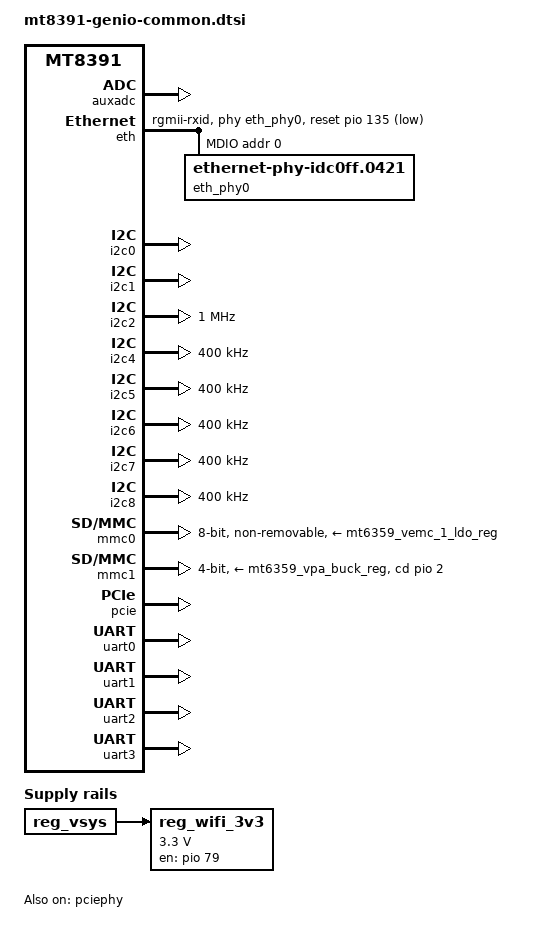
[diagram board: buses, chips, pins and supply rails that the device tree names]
// SPDX-License-Identifier: (GPL-2.0 OR MIT)
/*
 * Copyright (c) 2025 Collabora Ltd.
 * Author: Louis-Alexis Eyraud <louisalexis.eyraud@collabora.com>
 */

#include "mt6365.dtsi"

#include <dt-bindings/gpio/gpio.h>
#include <dt-bindings/input/input.h>
#include <dt-bindings/interrupt-controller/irq.h>
#include <dt-bindings/leds/common.h>
#include <dt-bindings/spmi/spmi.h>
#include "mt8189-pinfunc.h"

/ {
	aliases {
		ethernet0 = &eth;
		i2c0 = &i2c0;
		i2c1 = &i2c1;
		i2c2 = &i2c2;
		i2c3 = &i2c3;
		i2c4 = &i2c4;
		i2c5 = &i2c5;
		i2c6 = &i2c6;
		i2c7 = &i2c7;
		i2c8 = &i2c8;
		mmc0 = &mmc0;
		mmc1 = &mmc1;
		serial0 = &uart0;
	};

	chosen: chosen {
		stdout-path = "serial0:921600n8";
	};

	reserved_memory: reserved-memory {
		#address-cells = <2>;
		#size-cells = <2>;
		ranges;

		/* 2 MiB reserved for ARM Trusted Firmware (BL31) */
		bl31_secmon_reserved: memory@54600000 {
			reg = <0 0x54600000 0x0 0x200000>;
			no-map;
		};
	};

	/* system wide 4.2V power rail from charger */
	reg_vsys: regulator-vsys {
		compatible = "regulator-fixed";
		regulator-name = "vsys";
		regulator-always-on;
		regulator-boot-on;
	};

	/* used by PCIe Wi-Fi Module */
	reg_wifi_3v3: regulator-1 {
		compatible = "regulator-fixed";
		regulator-name = "wifi_3v3";
		regulator-min-microvolt = <3300000>;
		regulator-max-microvolt = <3300000>;
		gpio = <&pio 79 GPIO_ACTIVE_HIGH>;
		enable-active-high;
		regulator-always-on;
		pinctrl-names = "default";
		pinctrl-0 = <&pcie_3v3_en_pins>;
		vin-supply = <&reg_vsys>;
	};
};

&auxadc {
	status = "okay";
};

&cpu0 {
	cpu-supply = <&mt6359_vmodem_buck_reg>;
};

&cpu1 {
	cpu-supply = <&mt6359_vmodem_buck_reg>;
};

&cpu2 {
	cpu-supply = <&mt6359_vmodem_buck_reg>;
};

&cpu3 {
	cpu-supply = <&mt6359_vmodem_buck_reg>;
};

&cpu4 {
	cpu-supply = <&mt6359_vmodem_buck_reg>;
};

&cpu5 {
	cpu-supply = <&mt6359_vmodem_buck_reg>;
};

&eth {
	phy-handle = <&eth_phy0>;
	phy-mode ="rgmii-rxid";
	pinctrl-names = "default", "sleep";
	pinctrl-0 = <&eth_default_pins>;
	pinctrl-1 = <&eth_sleep_pins>;
	mediatek,mac-wol;
	snps,reset-delays-us = <0 10000 10000>;
	snps,reset-gpio = <&pio 135 GPIO_ACTIVE_LOW>;
	status = "okay";

	mdio {
		compatible = "snps,dwmac-mdio";
		#address-cells = <1>;
		#size-cells = <0>;

		eth_phy0: ethernet-phy@0 {
			compatible = "ethernet-phy-idc0ff.0421";
			reg = <0x0>;

			leds {
				#address-cells = <1>;
				#size-cells = <0>;

				/* LED_D5 */
				led@0 {
					reg = <0>;
					active-high;
					color = <LED_COLOR_ID_YELLOW>;
					default-state = "keep";
					function = LED_FUNCTION_LAN;
					function-enumerator = <0>;
				};

				/* LED_D6 */
				led@1 {
					reg = <1>;
					active-high;
					color = <LED_COLOR_ID_YELLOW>;
					default-state = "keep";
					function = LED_FUNCTION_LAN;
					function-enumerator = <2>;
				};

				/* LED_D7 */
				led@2 {
					reg = <2>;
					active-low;
					color = <LED_COLOR_ID_GREEN>;
					default-state = "keep";
					function = LED_FUNCTION_LAN;
					function-enumerator = <1>;
				};
			};
		};
	};
};

&i2c0 {
	pinctrl-names = "default";
	pinctrl-0 = <&i2c0_pins>;
	status = "okay";
};

&i2c1 {
	pinctrl-names = "default";
	pinctrl-0 = <&i2c1_pins>;
	status = "okay";
};

&i2c2 {
	clock-frequency = <1000000>;
	pinctrl-names = "default";
	pinctrl-0 = <&i2c2_pins>;
	status = "okay";
};

&i2c3 {
	pinctrl-names = "default";
	pinctrl-0 = <&i2c3_pins>;
	status = "disabled";
};

&i2c4 {
	clock-frequency = <400000>;
	pinctrl-names = "default";
	pinctrl-0 = <&i2c4_pins>;
	status = "okay";
};

&i2c5 {
	clock-frequency = <400000>;
	pinctrl-names = "default";
	pinctrl-0 = <&i2c5_pins>;
	status = "okay";
};

&i2c6 {
	clock-frequency = <400000>;
	pinctrl-names = "default";
	pinctrl-0 = <&i2c6_pins>;
	status = "okay";
};

&i2c7 {
	clock-frequency = <400000>;
	pinctrl-names = "default";
	pinctrl-0 = <&i2c7_pins>;
	status = "okay";
};

&i2c8 {
	clock-frequency = <400000>;
	pinctrl-names = "default";
	pinctrl-0 = <&i2c8_pins>;
	status = "okay";
};

&mmc0 {
	bus-width = <8>;
	cap-mmc-highspeed;
	cap-mmc-hw-reset;
	hs400-ds-delay = <0x1481b>;
	max-frequency = <200000000>;
	mmc-hs200-1_8v;
	mmc-hs400-1_8v;
	mmc-hs400-enhanced-strobe;
	no-sdio;
	no-sd;
	non-removable;
	supports-cqe;
	pinctrl-names = "default", "state_uhs";
	pinctrl-0 = <&mmc0_default_pins>;
	pinctrl-1 = <&mmc0_uhs_pins>;
	vmmc-supply = <&mt6359_vemc_1_ldo_reg>;
	vqmmc-supply = <&mt6359_vufs_ldo_reg>;
	status = "okay";
};

&mmc1 {
	bus-width = <4>;
	cap-sd-highspeed;
	cd-gpios = <&pio 2 GPIO_ACTIVE_HIGH>;
	max-frequency = <200000000>;
	no-mmc;
	no-sdio;
	sd-uhs-sdr50;
	sd-uhs-sdr104;
	pinctrl-names = "default", "state_uhs";
	pinctrl-0 = <&mmc1_default_pins>;
	pinctrl-1 = <&mmc1_uhs_pins>;
	vmmc-supply = <&mt6359_vpa_buck_reg>;
	vqmmc-supply = <&mt6359_vsim1_ldo_reg>;
	status = "okay";
};

&mt6359_va09_ldo_reg{
	regulator-name = "dvdd_sram_vadsp";
	regulator-always-on;
};

&mt6359_vaux18_ldo_reg {
	regulator-always-on;
};

&mt6359_vbbck_ldo_reg {
	regulator-always-on;
};

&mt6359_vcore_buck_reg {
	regulator-name = "dvdd_apu";
	regulator-always-on;
};

&mt6359_vgpu11_buck_reg {
	regulator-name = "dvdd_sram_core";
	regulator-always-on;
};

&mt6359_vmodem_buck_reg {
	regulator-name = "dvdd_proc_l";
	regulator-always-on;
};

&mt6359_vproc1_buck_reg {
	regulator-name = "vgpu";
};

&mt6359_vproc2_buck_reg {
	regulator-name = "dvdd_core";
	regulator-always-on;
};

&mt6359_vpu_buck_reg {
	regulator-name = "avdd075_emi";
	regulator-always-on;
};

&mt6359_vrf12_ldo_reg {
	regulator-name = "va12_abb2";
	regulator-always-on;
};

&mt6359_vrfck_ldo_reg {
	regulator-always-on;
};

&mt6359_vsram_md_ldo_reg {
	regulator-name = "dvdd_sram_proc_l";
	regulator-always-on;
};

&mt6359_vsram_proc1_ldo_reg {
	regulator-name = "vsram_gpu";
};

&mt6359_vsram_proc2_ldo_reg {
	regulator-name = "dvdd_sram_proc_b";
	regulator-always-on;
};

&mt6359_vsram_others_ldo_reg {
	regulator-name = "dvdd_sram_apu";
	regulator-always-on;
};

&mt6359_vufs_ldo_reg {
	regulator-always-on;
};

&pcie {
	pinctrl-names = "default", "sleep";
	pinctrl-0 = <&pcie_default_pins>;
	pinctrl-1 = <&pcie_sleep_pins>;
	status = "okay";
};

&pciephy {
	status = "okay";
};

&pio {
	eth_default_pins: eth-default-pins {
		pins-cc {
			pinmux = <PINMUX_GPIO127__FUNC_GBE_TXC>,
				 <PINMUX_GPIO130__FUNC_GBE_TXEN>,
				 <PINMUX_GPIO129__FUNC_GBE_RXDV>,
				 <PINMUX_GPIO128__FUNC_GBE_RXC>;
			drive-strength = <8>;
		};

		pins-mdio {
			pinmux = <PINMUX_GPIO131__FUNC_GBE_MDC>,
				 <PINMUX_GPIO132__FUNC_GBE_MDIO>;
			drive-strength = <8>;
			input-enable;
		};

		pins-power {
			pinmux = <PINMUX_GPIO133__FUNC_GPIO133>,
				 <PINMUX_GPIO134__FUNC_GPIO134>;
			output-high;
		};

		pins-rxd {
			pinmux = <PINMUX_GPIO123__FUNC_GBE_RXD3>,
				 <PINMUX_GPIO124__FUNC_GBE_RXD2>,
				 <PINMUX_GPIO125__FUNC_GBE_RXD1>,
				 <PINMUX_GPIO126__FUNC_GBE_RXD0>;
			drive-strength = <8>;
		};

		pins-txd {
			pinmux = <PINMUX_GPIO119__FUNC_GBE_TXD3>,
				 <PINMUX_GPIO120__FUNC_GBE_TXD2>,
				 <PINMUX_GPIO121__FUNC_GBE_TXD1>,
				 <PINMUX_GPIO122__FUNC_GBE_TXD0>;
			drive-strength = <8>;
		};
	};

	eth_sleep_pins: eth-sleep-pins {
		pins-cc {
			pinmux = <PINMUX_GPIO127__FUNC_GPIO127>,
				 <PINMUX_GPIO130__FUNC_GPIO130>,
				 <PINMUX_GPIO129__FUNC_GPIO129>,
				 <PINMUX_GPIO128__FUNC_GPIO128>;
		};

		pins-mdio {
			pinmux = <PINMUX_GPIO131__FUNC_GPIO131>,
				 <PINMUX_GPIO132__FUNC_GPIO132>;
			input-disable;
			bias-disable;
		};

		pins-rxd {
			pinmux = <PINMUX_GPIO123__FUNC_GPIO123>,
				 <PINMUX_GPIO124__FUNC_GPIO124>,
				 <PINMUX_GPIO125__FUNC_GPIO125>,
				 <PINMUX_GPIO126__FUNC_GPIO126>;
		};

		pins-txd {
			pinmux = <PINMUX_GPIO119__FUNC_GPIO119>,
				 <PINMUX_GPIO120__FUNC_GPIO120>,
				 <PINMUX_GPIO121__FUNC_GPIO121>,
				 <PINMUX_GPIO122__FUNC_GPIO122>;
		};
	};

	i2c0_pins: i2c0-pins {
		pins {
			pinmux = <PINMUX_GPIO52__FUNC_SDA0>,
				 <PINMUX_GPIO51__FUNC_SCL0>;
			bias-pull-up;
		};
	};

	i2c1_pins: i2c1-pins {
		pins {
			pinmux = <PINMUX_GPIO54__FUNC_SDA1>,
				 <PINMUX_GPIO53__FUNC_SCL1>;
			bias-pull-up;
		};
	};

	i2c2_pins: i2c2-pins {
		pins {
			pinmux = <PINMUX_GPIO56__FUNC_SDA2>,
				 <PINMUX_GPIO55__FUNC_SCL2>;
			bias-pull-up;
		};
	};

	i2c3_pins: i2c3-pins {
		pins {
			pinmux = <PINMUX_GPIO58__FUNC_SDA3>,
				 <PINMUX_GPIO57__FUNC_SCL3>;
			bias-pull-up;
		};
	};

	i2c4_pins: i2c4-pins {
		pins {
			pinmux = <PINMUX_GPIO60__FUNC_SDA4>,
				 <PINMUX_GPIO59__FUNC_SCL4>;
			bias-pull-up;
		};
	};
	i2c5_pins: i2c5-pins {
		pins {
			pinmux = <PINMUX_GPIO62__FUNC_SDA5>,
				 <PINMUX_GPIO61__FUNC_SCL5>;
			bias-pull-up;
		};
	};

	i2c6_pins: i2c6-pins {
		pins {
			pinmux = <PINMUX_GPIO64__FUNC_SDA6>,
				 <PINMUX_GPIO63__FUNC_SCL6>;
			bias-pull-up;
		};
	};

	i2c7_pins: i2c7-pins {
		pins {
			pinmux = <PINMUX_GPIO66__FUNC_SDA7>,
				 <PINMUX_GPIO65__FUNC_SCL7>;
			bias-pull-up;
		};
	};

	i2c8_pins: i2c8-pins {
		pins {
			pinmux = <PINMUX_GPIO68__FUNC_SDA8>,
				 <PINMUX_GPIO67__FUNC_SCL8>;
			bias-pull-up;
		};
	};

	mmc0_default_pins: mmc0-default-pins {
		pins-clk {
			pinmux = <PINMUX_GPIO162__FUNC_MSDC0_CLK>;
			drive-strength = <6>;
			bias-pull-down = <MTK_PUPD_SET_R1R0_10>;
		};

		pins-cmd-dat {
			pinmux = <PINMUX_GPIO166__FUNC_MSDC0_DAT0>,
				 <PINMUX_GPIO165__FUNC_MSDC0_DAT1>,
				 <PINMUX_GPIO164__FUNC_MSDC0_DAT2>,
				 <PINMUX_GPIO163__FUNC_MSDC0_DAT3>,
				 <PINMUX_GPIO159__FUNC_MSDC0_DAT4>,
				 <PINMUX_GPIO158__FUNC_MSDC0_DAT5>,
				 <PINMUX_GPIO157__FUNC_MSDC0_DAT6>,
				 <PINMUX_GPIO156__FUNC_MSDC0_DAT7>,
				 <PINMUX_GPIO161__FUNC_MSDC0_CMD>;
			input-enable;
			drive-strength = <6>;
			bias-pull-up = <MTK_PUPD_SET_R1R0_01>;
		};

		pins-rst {
			pinmux = <PINMUX_GPIO160__FUNC_MSDC0_RSTB>;
			drive-strength = <6>;
			bias-pull-up = <MTK_PUPD_SET_R1R0_00>;
		};
	};

	mmc0_uhs_pins: mmc0-uhs-pins {
		pins-clk {
			pinmux = <PINMUX_GPIO162__FUNC_MSDC0_CLK>;
			drive-strength = <8>;
			bias-pull-down = <MTK_PUPD_SET_R1R0_10>;
		};

		pins-cmd-dat {
			pinmux = <PINMUX_GPIO166__FUNC_MSDC0_DAT0>,
				 <PINMUX_GPIO165__FUNC_MSDC0_DAT1>,
				 <PINMUX_GPIO164__FUNC_MSDC0_DAT2>,
				 <PINMUX_GPIO163__FUNC_MSDC0_DAT3>,
				 <PINMUX_GPIO159__FUNC_MSDC0_DAT4>,
				 <PINMUX_GPIO158__FUNC_MSDC0_DAT5>,
				 <PINMUX_GPIO157__FUNC_MSDC0_DAT6>,
				 <PINMUX_GPIO156__FUNC_MSDC0_DAT7>,
				 <PINMUX_GPIO161__FUNC_MSDC0_CMD>;
			input-enable;
			drive-strength = <8>;
			bias-pull-up = <MTK_PUPD_SET_R1R0_01>;
		};

		pins-ds {
			pinmux = <PINMUX_GPIO167__FUNC_MSDC0_DSL>;
			drive-strength = <8>;
			bias-pull-down = <MTK_PUPD_SET_R1R0_10>;
		};

		pins-rst {
			pinmux = <PINMUX_GPIO160__FUNC_MSDC0_RSTB>;
			bias-pull-up = <MTK_PUPD_SET_R1R0_00>;
		};
	};

	mmc1_default_pins: mmc1-default-pins {
		pins-clk {
			pinmux = <PINMUX_GPIO169__FUNC_MSDC1_CLK>;
			drive-strength = <6>;
			bias-pull-down = <MTK_PUPD_SET_R1R0_10>;
		};

		pins-cmd-dat {
			pinmux = <PINMUX_GPIO170__FUNC_MSDC1_DAT0>,
				 <PINMUX_GPIO171__FUNC_MSDC1_DAT1>,
				 <PINMUX_GPIO172__FUNC_MSDC1_DAT2>,
				 <PINMUX_GPIO173__FUNC_MSDC1_DAT3>,
				 <PINMUX_GPIO168__FUNC_MSDC1_CMD>;
			input-enable;
			drive-strength = <6>;
			bias-pull-up = <MTK_PUPD_SET_R1R0_01>;
		};

		pins-insert {
			pinmux = <PINMUX_GPIO2__FUNC_GPIO2>;
			bias-pull-up;
		};
	};

	mmc1_uhs_pins: mmc1-uhs-pins {
		pins-clk {
			pinmux = <PINMUX_GPIO169__FUNC_MSDC1_CLK>;
			drive-strength = <8>;
			bias-pull-down = <MTK_PUPD_SET_R1R0_10>;
		};

		pins-cmd-dat {
			pinmux = <PINMUX_GPIO170__FUNC_MSDC1_DAT0>,
				 <PINMUX_GPIO171__FUNC_MSDC1_DAT1>,
				 <PINMUX_GPIO172__FUNC_MSDC1_DAT2>,
				 <PINMUX_GPIO173__FUNC_MSDC1_DAT3>,
				 <PINMUX_GPIO168__FUNC_MSDC1_CMD>;
			input-enable;
			drive-strength = <8>;
			bias-pull-up = <MTK_PUPD_SET_R1R0_01>;
		};
	};

	pcie_default_pins: pcie-default-pins {
		pins-bus {
			pinmux = <PINMUX_GPIO48__FUNC_WAKEN>,
				 <PINMUX_GPIO49__FUNC_PERSTN>,
				 <PINMUX_GPIO50__FUNC_CLKREQN>;
			bias-pull-up;
		};
	};

	pcie_sleep_pins: pcie-sleep-pins {
		pins {
			pinmux = <PINMUX_GPIO49__FUNC_PERSTN>;
			bias-disable;
			output-low;
		};
	};

	pcie_3v3_en_pins: pcie-3v3-en-pins {
		pins {
			pinmux = <PINMUX_GPIO79__FUNC_GPIO79>;
			output-high;
		};
	};

	uart0_pins: uart0-pins {
		pins {
			pinmux = <PINMUX_GPIO31__FUNC_UTXD0>,
				 <PINMUX_GPIO32__FUNC_URXD0>;
			bias-pull-up;
		};
	};

	uart1_pins: uart1-pins {
		pins {
			pinmux = <PINMUX_GPIO33__FUNC_UTXD1>,
				 <PINMUX_GPIO34__FUNC_URXD1>;
			bias-pull-up;
		};
	};

	uart2_pins: uart2-pins {
		pins {
			pinmux = <PINMUX_GPIO35__FUNC_UTXD2>,
				 <PINMUX_GPIO36__FUNC_URXD2>;
			bias-pull-up;
		};

		pins-rtscts {
			pinmux = <PINMUX_GPIO16__FUNC_UCTS2>,
				 <PINMUX_GPIO17__FUNC_URTS2>;
		};
	};

	uart3_pins: uart3-pins {
		pins {
			pinmux = <PINMUX_GPIO37__FUNC_UTXD3>,
				 <PINMUX_GPIO38__FUNC_URXD3>;
			bias-pull-up;
		};

		pins-rtscts {
			pinmux = <PINMUX_GPIO14__FUNC_UCTS3>,
				 <PINMUX_GPIO15__FUNC_URTS3>;
		};
	};
};

&pmic {
	interrupts-extended = <&pio 194 IRQ_TYPE_LEVEL_HIGH>;
	vsys-smps-supply = <&reg_vsys>;
	vsys-vcore-supply = <&reg_vsys>;
	vsys-vgpu11-supply = <&reg_vsys>;
	vsys-vgpu12-supply = <&reg_vsys>;
	vsys-vpa-supply = <&reg_vsys>;
	vsys-vproc1-supply = <&reg_vsys>;
	vsys-vproc2-supply = <&reg_vsys>;
	vsys-vpu-supply = <&reg_vsys>;
	vsys-vs1-supply = <&reg_vsys>;
	vsys-vs2-supply = <&reg_vsys>;
	vsys-vmodem-supply = <&reg_vsys>;
	vsys-ldo1-supply = <&reg_vsys>;
	vsys-ldo2-supply = <&reg_vsys>;
	vs1-ldo1-supply = <&mt6359_vs1_buck_reg>;
	vs1-ldo2-supply = <&mt6359_vs1_buck_reg>;
	vs2-ldo1-supply = <&mt6359_vs2_buck_reg>;
	vs2-ldo2-supply = <&mt6359_vs2_buck_reg>;

	keys {
		compatible = "mediatek,mt6365-keys", "mediatek,mt6359-keys";
		mediatek,long-press-mode = <1>;
		power-off-time-sec = <0>;

		power-key {
			linux,keycodes = <KEY_POWER>;
			wakeup-source;
		};

		home {
			linux,keycodes = <KEY_HOME>;
		};
	};
};

&spmi {
	/*
	 * MT6319 PMIC SID can change depending on the boards so add
	 * in this include file the nodes for the possible values,
	 * disabled by default to limit the code duplication.
	 */
	mt6319_sid6: pmic@6 {
		compatible = "mediatek,mt6319-regulator", "mediatek,mt6315-regulator";
		reg = <0x6 SPMI_USID>;

		pvdd1-supply = <&reg_vsys>;
		pvdd2-supply = <&reg_vsys>;
		pvdd3-supply = <&reg_vsys>;
		pvdd4-supply = <&reg_vsys>;

		status = "disabled";

		regulators {
			mt6319_sid6_vbuck1: vbuck1 {
				regulator-name = "dvdd_proc_b";
				regulator-min-microvolt = <300000>;
				regulator-max-microvolt = <1193750>;
				regulator-enable-ramp-delay = <256>;
				regulator-allowed-modes = <0 1 2>;
				regulator-always-on;
			};

			vbuck3 {
				regulator-name = "vdd2h_emi";
				regulator-min-microvolt = <300000>;
				regulator-max-microvolt = <1193750>;
				regulator-enable-ramp-delay = <256>;
				regulator-allowed-modes = <0 1 2>;
				regulator-always-on;
			};

			vbuck4 {
				regulator-name = "avddq_emi";
				regulator-min-microvolt = <300000>;
				regulator-max-microvolt = <1193750>;
				regulator-enable-ramp-delay = <256>;
				regulator-allowed-modes = <0 1 2>;
				regulator-always-on;
			};
		};
	};

	mt6319_sid7: pmic@7 {
		compatible = "mediatek,mt6319-regulator", "mediatek,mt6315-regulator";
		reg = <0x7 SPMI_USID>;

		pvdd1-supply = <&reg_vsys>;
		pvdd2-supply = <&reg_vsys>;
		pvdd3-supply = <&reg_vsys>;
		pvdd4-supply = <&reg_vsys>;

		status = "disabled";

		regulators {
			mt6319_sid7_vbuck1: vbuck1 {
				regulator-name = "dvdd_proc_b";
				regulator-min-microvolt = <300000>;
				regulator-max-microvolt = <1193750>;
				regulator-enable-ramp-delay = <256>;
				regulator-allowed-modes = <0 1 2>;
				regulator-always-on;
			};

			vbuck3 {
				regulator-name = "vdd2h_emi";
				regulator-min-microvolt = <300000>;
				regulator-max-microvolt = <1193750>;
				regulator-enable-ramp-delay = <256>;
				regulator-allowed-modes = <0 1 2>;
				regulator-always-on;
			};

			vbuck4 {
				regulator-name = "avddq_emi";
				regulator-min-microvolt = <300000>;
				regulator-max-microvolt = <1193750>;
				regulator-enable-ramp-delay = <256>;
				regulator-allowed-modes = <0 1 2>;
				regulator-always-on;
			};
		};
	};
};

&uart0 {
	pinctrl-0 = <&uart0_pins>;
	pinctrl-names = "default";
	status = "okay";
};

&uart1 {
	pinctrl-0 = <&uart1_pins>;
	pinctrl-names = "default";
	status = "okay";
};

&uart2 {
	pinctrl-0 = <&uart2_pins>;
	pinctrl-names = "default";
	status = "okay";
};

&uart3 {
	pinctrl-0 = <&uart3_pins>;
	pinctrl-names = "default";
	status = "okay";
};
